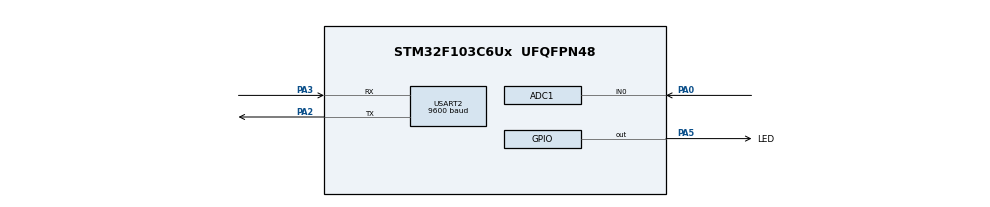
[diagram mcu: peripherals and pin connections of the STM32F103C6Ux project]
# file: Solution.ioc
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ADC1.Channel-0\#ChannelRegularConversion=ADC_CHANNEL_0
ADC1.ContinuousConvMode=ENABLE
ADC1.NbrOfConversionFlag=1
ADC1.Rank-0\#ChannelRegularConversion=1
ADC1.SamplingTime-0\#ChannelRegularConversion=ADC_SAMPLETIME_1CYCLE_5
ADC1.master=1
Mcu.Family=STM32F1
Mcu.Name=STM32F103C6Ux
Mcu.Package=UFQFPN48
NVIC.PriorityGroup=NVIC_PRIORITYGROUP_4
NVIC.TIM2_IRQn=true\:0\:0\:false\:false\:true\:true\:true
NVIC.USART2_IRQn=true\:0\:0\:false\:false\:true\:true\:true
PA0-WKUP.Signal=ADCx_IN0
PA2.Mode=Asynchronous
PA2.Signal=USART2_TX
PA3.Mode=Asynchronous
PA3.Signal=USART2_RX
PA5.GPIO_Label=LED
PA5.Signal=GPIO_Output
ProjectManager.HeapSize=0x200
ProjectManager.StackSize=0x400
ProjectManager.TargetToolchain=STM32CubeIDE
RCC.APB1Freq_Value=8000000
RCC.APB2Freq_Value=8000000
SH.ADCx_IN0.0=ADC1_IN0,IN0
TIM2.Period=9999
TIM2.Prescaler=7
USART2.BaudRate=9600
USART2.VirtualMode=VM_ASYNC
USART2.WordLength=WORDLENGTH_8B
VP_SYS_VS_ND.Mode=No_Debug
VP_TIM2_VS_ClockSourceINT.Mode=Internal
board=custom

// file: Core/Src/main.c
/* USER CODE BEGIN Header */
/**
  ******************************************************************************
  * @file           : main.c
  * @brief          : Main program body
  ******************************************************************************
  * @attention
  *
  * <h2><center>&copy; Copyright (c) 2022 STMicroelectronics.
  * All rights reserved.</center></h2>
  *
  * This software component is licensed by ST under BSD 3-Clause license,
  * the "License"; You may not use this file except in compliance with the
  * License. You may obtain a copy of the License at:
  *                        opensource.org/licenses/BSD-3-Clause
  *
  ******************************************************************************
  */
/* USER CODE END Header */
#include "main.h"

/* USER CODE BEGIN Includes */
#include <stdio.h>
#include "software_timer.h"
/* USER CODE END Includes */

/* USER CODE BEGIN PD */
# define MAX_BUFFER_SIZE	30
# define IDLE				0
# define SEND				1
# define WAIT_RST			0
# define WAIT_OK			1
/* USER CODE END PD */

ADC_HandleTypeDef hadc1;

TIM_HandleTypeDef htim2;

UART_HandleTypeDef huart2;

/* USER CODE BEGIN PV */
uint8_t countForRightCharInput = 0;
uint8_t parserStatus = WAIT_RST;
uint8_t communicationStatus = IDLE;
char str[20];
uint8_t command_flag = 0;
uint32_t command_data = 0;
/* USER CODE END PV */

void SystemClock_Config(void);
static void MX_GPIO_Init(void);
static void MX_ADC1_Init(void);
static void MX_USART2_UART_Init(void);
static void MX_TIM2_Init(void);
/* USER CODE BEGIN PFP */
void command_parser_fsm();
void uart_communication_fsm();
/* USER CODE END PFP */

/* USER CODE BEGIN 0 */
uint8_t temp = 0;
uint8_t buffer [ MAX_BUFFER_SIZE ];
uint8_t index_buffer = 0;
uint8_t buffer_flag = 0;
void HAL_UART_RxCpltCallback ( UART_HandleTypeDef * huart ){
	if(huart->Instance == USART2){
		HAL_UART_Transmit(&huart2, &temp, 1, 50);
		buffer [ index_buffer ++] = temp ;
		if( index_buffer == 30) index_buffer = 0;
		buffer_flag = 1;
		HAL_UART_Receive_IT (& huart2 , &temp , 1);
	}
}
/* USER CODE END 0 */

int main(void)
{

  /* MCU Configuration--------------------------------------------------------*/

  /* Reset of all peripherals, Initializes the Flash interface and the Systick. */
  HAL_Init();

  /* Configure the system clock */
  SystemClock_Config();

  /* Initialize all configured peripherals */
  MX_GPIO_Init();
  MX_ADC1_Init();
  MX_USART2_UART_Init();
  MX_TIM2_Init();
  /* USER CODE BEGIN 2 */
  HAL_TIM_Base_Start_IT(&htim2);
  HAL_UART_Receive_IT (& huart2 , &temp , 1);
  HAL_ADC_Start(&hadc1);
  /* USER CODE END 2 */

  /* Infinite loop */
  /* USER CODE BEGIN WHILE */
  while (1)
  {
	  if(buffer_flag == 1){
		  command_parser_fsm();
		  buffer_flag = 0;
	  }
	  uart_communication_fsm();
    /* USER CODE END WHILE */

  }
}

void SystemClock_Config(void)
{
  RCC_OscInitTypeDef RCC_OscInitStruct = {0};
  RCC_ClkInitTypeDef RCC_ClkInitStruct = {0};
  RCC_PeriphCLKInitTypeDef PeriphClkInit = {0};

  /** Initializes the RCC Oscillators according to the specified parameters
  * in the RCC_OscInitTypeDef structure.
  */
  RCC_OscInitStruct.OscillatorType = RCC_OSCILLATORTYPE_HSI;
  RCC_OscInitStruct.HSIState = RCC_HSI_ON;
  RCC_OscInitStruct.HSICalibrationValue = RCC_HSICALIBRATION_DEFAULT;
  RCC_OscInitStruct.PLL.PLLState = RCC_PLL_NONE;
  if (HAL_RCC_OscConfig(&RCC_OscInitStruct) != HAL_OK)
  {
    Error_Handler();
  }
  /** Initializes the CPU, AHB and APB buses clocks
  */
  RCC_ClkInitStruct.ClockType = RCC_CLOCKTYPE_HCLK|RCC_CLOCKTYPE_SYSCLK
                              |RCC_CLOCKTYPE_PCLK1|RCC_CLOCKTYPE_PCLK2;
  RCC_ClkInitStruct.SYSCLKSource = RCC_SYSCLKSOURCE_HSI;
  RCC_ClkInitStruct.AHBCLKDivider = RCC_SYSCLK_DIV1;
  RCC_ClkInitStruct.APB1CLKDivider = RCC_HCLK_DIV1;
  RCC_ClkInitStruct.APB2CLKDivider = RCC_HCLK_DIV1;

  if (HAL_RCC_ClockConfig(&RCC_ClkInitStruct, FLASH_LATENCY_0) != HAL_OK)
  {
    Error_Handler();
  }
  PeriphClkInit.PeriphClockSelection = RCC_PERIPHCLK_ADC;
  PeriphClkInit.AdcClockSelection = RCC_ADCPCLK2_DIV2;
  if (HAL_RCCEx_PeriphCLKConfig(&PeriphClkInit) != HAL_OK)
  {
    Error_Handler();
  }
}

static void MX_ADC1_Init(void)
{

  ADC_ChannelConfTypeDef sConfig = {0};

  /** Common config
  */
  hadc1.Instance = ADC1;
  hadc1.Init.ScanConvMode = ADC_SCAN_DISABLE;
  hadc1.Init.ContinuousConvMode = ENABLE;
  hadc1.Init.DiscontinuousConvMode = DISABLE;
  hadc1.Init.ExternalTrigConv = ADC_SOFTWARE_START;
  hadc1.Init.DataAlign = ADC_DATAALIGN_RIGHT;
  hadc1.Init.NbrOfConversion = 1;
  if (HAL_ADC_Init(&hadc1) != HAL_OK)
  {
    Error_Handler();
  }
  /** Configure Regular Channel
  */
  sConfig.Channel = ADC_CHANNEL_0;
  sConfig.Rank = ADC_REGULAR_RANK_1;
  sConfig.SamplingTime = ADC_SAMPLETIME_1CYCLE_5;
  if (HAL_ADC_ConfigChannel(&hadc1, &sConfig) != HAL_OK)
  {
    Error_Handler();
  }

}

static void MX_TIM2_Init(void)
{

  TIM_ClockConfigTypeDef sClockSourceConfig = {0};
  TIM_MasterConfigTypeDef sMasterConfig = {0};

  htim2.Instance = TIM2;
  htim2.Init.Prescaler = 7;
  htim2.Init.CounterMode = TIM_COUNTERMODE_UP;
  htim2.Init.Period = 9999;
  htim2.Init.ClockDivision = TIM_CLOCKDIVISION_DIV1;
  htim2.Init.AutoReloadPreload = TIM_AUTORELOAD_PRELOAD_DISABLE;
  if (HAL_TIM_Base_Init(&htim2) != HAL_OK)
  {
    Error_Handler();
  }
  sClockSourceConfig.ClockSource = TIM_CLOCKSOURCE_INTERNAL;
  if (HAL_TIM_ConfigClockSource(&htim2, &sClockSourceConfig) != HAL_OK)
  {
    Error_Handler();
  }
  sMasterConfig.MasterOutputTrigger = TIM_TRGO_RESET;
  sMasterConfig.MasterSlaveMode = TIM_MASTERSLAVEMODE_DISABLE;
  if (HAL_TIMEx_MasterConfigSynchronization(&htim2, &sMasterConfig) != HAL_OK)
  {
    Error_Handler();
  }

}

static void MX_USART2_UART_Init(void)
{

  huart2.Instance = USART2;
  huart2.Init.BaudRate = 9600;
  huart2.Init.WordLength = UART_WORDLENGTH_8B;
  huart2.Init.StopBits = UART_STOPBITS_1;
  huart2.Init.Parity = UART_PARITY_NONE;
  huart2.Init.Mode = UART_MODE_TX_RX;
  huart2.Init.HwFlowCtl = UART_HWCONTROL_NONE;
  huart2.Init.OverSampling = UART_OVERSAMPLING_16;
  if (HAL_UART_Init(&huart2) != HAL_OK)
  {
    Error_Handler();
  }

}

static void MX_GPIO_Init(void)
{
  GPIO_InitTypeDef GPIO_InitStruct = {0};

  /* GPIO Ports Clock Enable */
  __HAL_RCC_GPIOA_CLK_ENABLE();

  /*Configure GPIO pin Output Level */
  HAL_GPIO_WritePin(LED_GPIO_Port, LED_Pin, GPIO_PIN_RESET);

  /*Configure GPIO pin : LED_Pin */
  GPIO_InitStruct.Pin = LED_Pin;
  GPIO_InitStruct.Mode = GPIO_MODE_OUTPUT_PP;
  GPIO_InitStruct.Pull = GPIO_NOPULL;
  GPIO_InitStruct.Speed = GPIO_SPEED_FREQ_LOW;
  HAL_GPIO_Init(LED_GPIO_Port, &GPIO_InitStruct);

}

/* USER CODE BEGIN 4 */

void command_parser_fsm(){
	switch(parserStatus){
	case WAIT_RST:
		switch(countForRightCharInput){
		case 0:
			if(temp == '!') countForRightCharInput++;
			break;
		case 1:
			if(temp == 'R') countForRightCharInput++;
			else countForRightCharInput = 0;
			break;
		case 2:
			if(temp == 'S') countForRightCharInput++;
			else countForRightCharInput = 0;
			break;
		case 3:
			if(temp == 'T') countForRightCharInput++;
			else countForRightCharInput = 0;
			break;
		case 4:
			if(temp == '#') countForRightCharInput++;
			else countForRightCharInput = 0;
			break;
		default:
			break;
		}
		if(countForRightCharInput == 5){
			command_flag = 1;
			command_data = HAL_ADC_GetValue(&hadc1);
			countForRightCharInput = 0;
			parserStatus = WAIT_OK;

		}
		break;
	case WAIT_OK:

		switch(countForRightCharInput){
		case 0:
			if(temp == '!') countForRightCharInput++;
			break;
		case 1:
			if(temp == 'O') countForRightCharInput++;
			else countForRightCharInput = 0;
			break;
		case 2:
			if(temp == 'K') countForRightCharInput++;
			else countForRightCharInput = 0;
			break;
		case 3:
			if(temp == '#') countForRightCharInput++;
			else countForRightCharInput = 0;
			break;
		default:
			break;
		}
		if(countForRightCharInput == 4){
			command_flag = 1;
			countForRightCharInput = 0;
			parserStatus = WAIT_RST;
			set_timer0_ms(3000);
		}
		break;
	default:
		break;
	}
}

void uart_communication_fsm(){
	switch (communicationStatus) {
		case IDLE:
			if(command_flag == 1){
				command_flag = 0;
				HAL_UART_Transmit (& huart2 , ( void *) str , sprintf (str , "\r\n!ADC=%ld#\r\n",command_data),1000);
				set_timer0_ms(3000);
				communicationStatus = SEND;
			}
			break;
		case SEND:
			if(timer0_flag == 1){
				set_timer0_ms(3000);
				HAL_UART_Transmit (& huart2 , ( void *) str , sprintf (str , "\r\n!ADC=%ld#\r\n",command_data),1000);
			}
			if(command_flag == 1){
				command_flag = 0;
				communicationStatus = IDLE;
			}
		default:
			break;
	}
}

void HAL_TIM_PeriodElapsedCallback(TIM_HandleTypeDef *htim){
	timer_run();
}
/* USER CODE END 4 */

void Error_Handler(void)
{
  __disable_irq();
  while (1)
  {
  }
}

/************************ (C) COPYRIGHT STMicroelectronics *****END OF FILE****/
